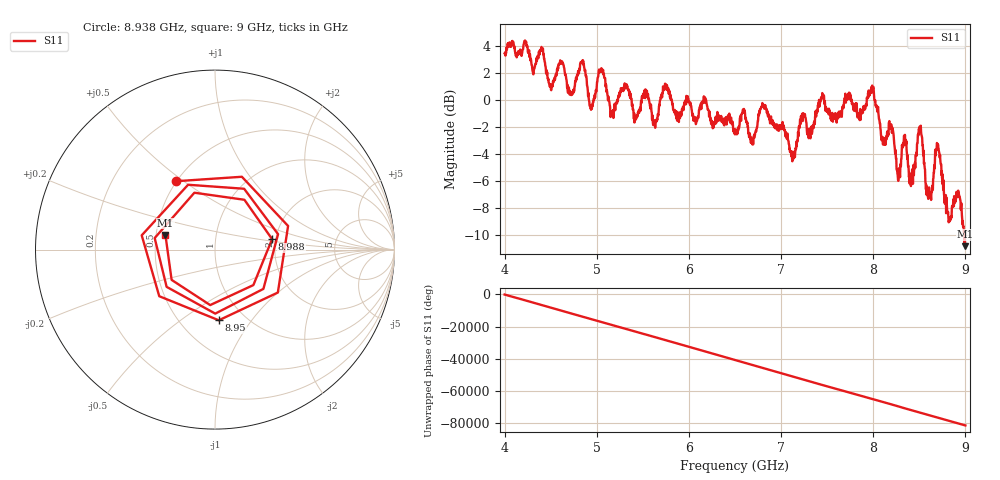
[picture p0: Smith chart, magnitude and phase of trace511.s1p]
! Created with skrf 1.8.0 (http://scikit-rf.org).
# Hz S RI R 50.0
!freq ReS11 ImS11
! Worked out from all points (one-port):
!   1601 points, 4 GHz to 9 GHz, reference 50 ohm
!   lowest |S11| = -10.8 dB at 9 GHz (marker M1), VSWR 1.81, Z = 28 + j5.03 ohm
!   |S11| at or under -10 dB: 8.988642 GHz to end of sweep
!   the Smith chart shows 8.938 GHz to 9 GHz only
!   S11 on the Smith chart (normalised r, x): 8.938 GHz: 0.49, +0.47; 8.95 GHz: 0.76, -0.71; 8.988 GHz: 1.91, +0.25; 9 GHz: 0.56, +0.10
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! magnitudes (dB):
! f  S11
! 4 GHz  3.5
! 4.625 GHz  2.9
! 4.728 GHz  0.4
! 4.847 GHz  3.0
! 4.938 GHz  -0.7
! 5.044 GHz  2.2
! 5.162 GHz  -1.0
! 5.25 GHz  0.4
! 5.634 GHz  -2.0
! 5.753 GHz  1.2
! 5.875 GHz  -1.3
! 6.5 GHz  -2.5
! 6.816 GHz  -0.3
! 7.125 GHz  -4.2
! 7.234 GHz  -1.5
! 7.75 GHz  0.3
! 7.984 GHz  0.7
! 8.272 GHz  -6.0
! 8.375 GHz  -4.5
! 8.419 GHz  -5.9
! 8.509 GHz  -2.1
! 8.603 GHz  -6.8
! 8.697 GHz  -3.2
! 8.825 GHz  -8.8
! 8.938 GHz  -7.1
! 8.95 GHz  -8.1
! 8.988 GHz  -9.8
! 9 GHz  -10.8
